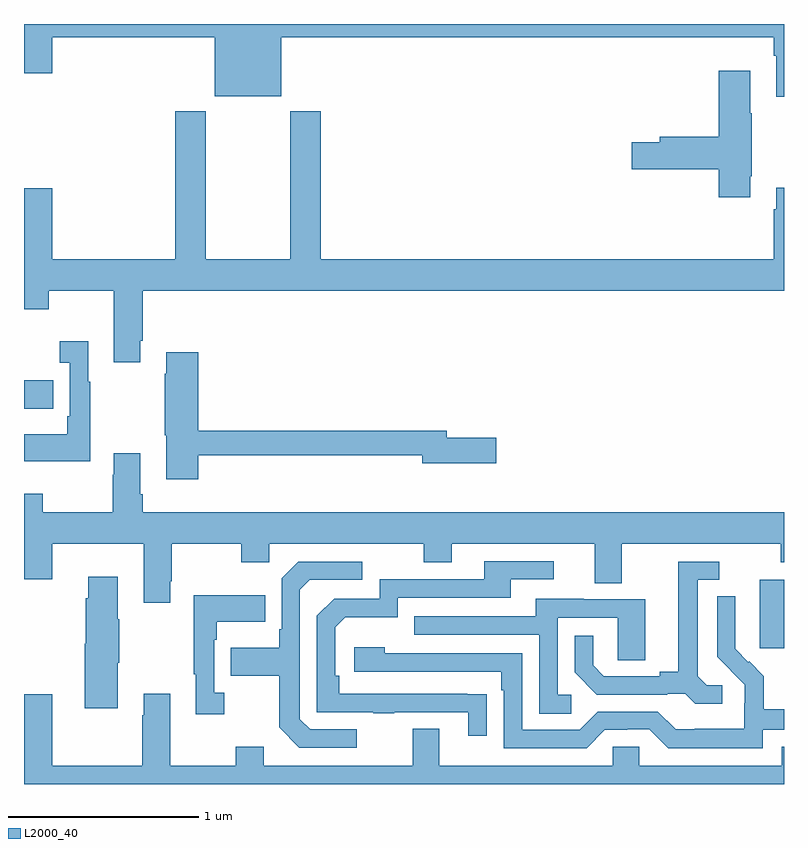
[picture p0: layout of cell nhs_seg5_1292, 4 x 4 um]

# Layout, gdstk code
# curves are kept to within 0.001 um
import gdstk
lib = gdstk.Library(unit=1e-6, precision=1e-09)
def R(c, l, rs):  # rectangles x0, y0, x1, y1
    for r in rs: c.add(gdstk.rectangle(r[:2], r[2:], *l))
def P(c, l, *ps):  # polygons
    for p in ps: c.add(gdstk.Polygon(p, *l))
L2000_40 = (2000, 40)

nhs_seg5_1292 = lib.new_cell('nhs_seg5_1292')
R(nhs_seg5_1292, L2000_40, [(192.872,885.513,193,885.874), (189,886.775,189.155,886.923)])
P(nhs_seg5_1292, L2000_40, [(193,888.799),(189,888.799),(189,888.54),(189.148,888.54),(189.148,888.728),(190.004,888.728),(190.004,888.419),(190.354,888.419),(190.354,888.728),(192.947,888.728),(192.947,888.632),(192.959,888.632),(192.959,888.417),(193,888.417)],
  [(192.823,887.998),(192.831,887.998),(192.831,888.329),(192.823,888.329),(192.823,888.553),(192.656,888.553),(192.656,888.206),(192.347,888.206),(192.347,888.176),(192.198,888.176),(192.198,888.034),(192.656,888.034),(192.656,887.886),(192.823,887.886)],
  [(189.613,887.131),(189.626,887.131),(189.626,887.396),(193,887.396),(193,887.938),(192.959,887.938),(192.959,887.825),(192.947,887.825),(192.947,887.56),(190.562,887.56),(190.562,888.34),(190.402,888.34),(190.402,887.56),(189.957,887.56),(189.957,888.34),(189.797,888.34),(189.797,887.56),(189.148,887.56),(189.148,887.935),(189,887.935),(189,887.297),(189.129,887.297),(189.129,887.396),(189.473,887.396),(189.473,887.019),(189.613,887.019)],
  [(189.349,886.915),(189.337,886.915),(189.337,887.128),(189.189,887.128),(189.189,887.015),(189.24,887.015),(189.24,886.735),(189.228,886.735),(189.228,886.639),(189,886.639),(189,886.499),(189.349,886.499)],
  [(189.917,886.53),(191.096,886.53),(191.096,886.487),(191.485,886.487),(191.485,886.622),(191.224,886.622),(191.224,886.658),(189.917,886.658),(189.917,887.071),(189.749,887.071),(189.749,886.958),(189.742,886.958),(189.742,886.635),(189.749,886.635),(189.749,886.404),(189.917,886.404)],
  [(189.769,885.865),(189.777,885.865),(189.777,886.064),(190.144,886.064),(190.144,885.965),(190.29,885.965),(190.29,886.064),(191.104,886.064),(191.104,885.965),(191.251,885.965),(191.251,886.064),(192.005,886.064),(192.005,885.856),(192.145,885.856),(192.145,886.064),(192.982,886.064),(192.982,885.965),(193,885.965),(193,886.228),(189.626,886.228),(189.626,886.324),(189.613,886.324),(189.613,886.54),(189.473,886.54),(189.473,886.427),(189.466,886.427),(189.466,886.228),(189.099,886.228),(189.099,886.327),(189,886.327),(189,885.876),(189.148,885.876),(189.148,886.064),(189.629,886.064),(189.629,885.753),(189.769,885.753)],
  [(191.435,885.272),(190.658,885.273),(190.658,885.37),(190.638,885.37),(190.638,885.624),(190.691,885.677),(190.968,885.677),(190.968,885.78),(191.563,885.78),(191.563,885.876),(191.788,885.876),(191.788,885.972),(191.423,885.972),(191.423,885.876),(190.872,885.876),(190.872,885.774),(190.632,885.774),(190.542,885.684),(190.542,885.177),(190.837,885.177),(190.837,885.172),(190.949,885.172),(190.949,885.177),(191.339,885.177),(191.339,885.054),(191.435,885.054)],
  [(192.676,885.318),(192.594,885.318),(192.547,885.365),(192.547,885.873),(192.658,885.873),(192.658,885.969),(192.443,885.969),(192.443,885.389),(192.347,885.389),(192.347,885.366),(192.052,885.366),(191.995,885.423),(191.995,885.58),(191.898,885.58),(191.898,885.386),(192.014,885.27),(192.386,885.27),(192.386,885.273),(192.48,885.273),(192.532,885.221),(192.676,885.221)],
  [(190.75,885.087),(190.506,885.087),(190.452,885.141),(190.452,885.822),(190.503,885.873),(190.78,885.873),(190.78,885.969),(190.443,885.969),(190.356,885.882),(190.356,885.613),(190.344,885.613),(190.344,885.517),(190.087,885.517),(190.087,885.37),(190.344,885.37),(190.344,885.097),(190.449,884.991),(190.75,884.991)],
  [(189.493,885.437),(189.501,885.437),(189.501,885.665),(189.493,885.665),(189.493,885.889),(189.338,885.889),(189.338,885.776),(189.326,885.776),(189.326,885.537),(189.32,885.537),(189.32,885.197),(189.493,885.197)],
  [(190.054,885.278),(190.002,885.278),(190.002,885.557),(190.015,885.557),(190.015,885.653),(190.271,885.653),(190.271,885.793),(189.894,885.793),(189.894,885.377),(189.905,885.377),(189.905,885.165),(190.054,885.165)],
  [(192.888,885.084),(193,885.084),(193,885.193),(192.893,885.193),(192.893,885.367),(192.816,885.444),(192.813,885.441),(192.743,885.512),(192.744,885.788),(192.648,885.788),(192.648,885.47),(192.794,885.322),(192.794,885.225),(192.792,885.225),(192.792,885.091),(192.529,885.091),(192.529,885.087),(192.429,885.087),(192.336,885.18),(192.021,885.18),(191.925,885.084),(191.622,885.084),(191.622,885.486),(190.898,885.486),(190.898,885.52),(190.737,885.52),(190.737,885.39),(191.513,885.39),(191.513,885.293),(191.526,885.293),(191.526,884.988),(191.961,884.988),(192.057,885.084),(192.176,885.084),(192.176,885.087),(192.291,885.087),(192.391,884.987),(192.888,884.987)],
  [(191.881,885.27),(191.808,885.27),(191.808,885.675),(192.126,885.675),(192.126,885.451),(192.271,885.451),(192.271,885.771),(191.947,885.771),(191.947,885.775),(191.693,885.775),(191.693,885.681),(191.053,885.681),(191.053,885.585),(191.712,885.585),(191.712,885.169),(191.881,885.169)],
  [(193,884.995),(192.989,884.995),(192.989,884.896),(192.237,884.896),(192.237,884.994),(192.099,884.994),(192.099,884.896),(191.185,884.896),(191.185,885.091),(191.045,885.091),(191.045,884.896),(190.261,884.896),(190.261,884.995),(190.114,884.995),(190.114,884.896),(189.769,884.896),(189.769,885.274),(189.629,885.274),(189.629,885.161),(189.622,885.161),(189.622,884.896),(189.148,884.896),(189.148,885.271),(189,885.271),(189,884.799),(193,884.799)])

lib.write_gds('nhs_seg5_1292.gds')
